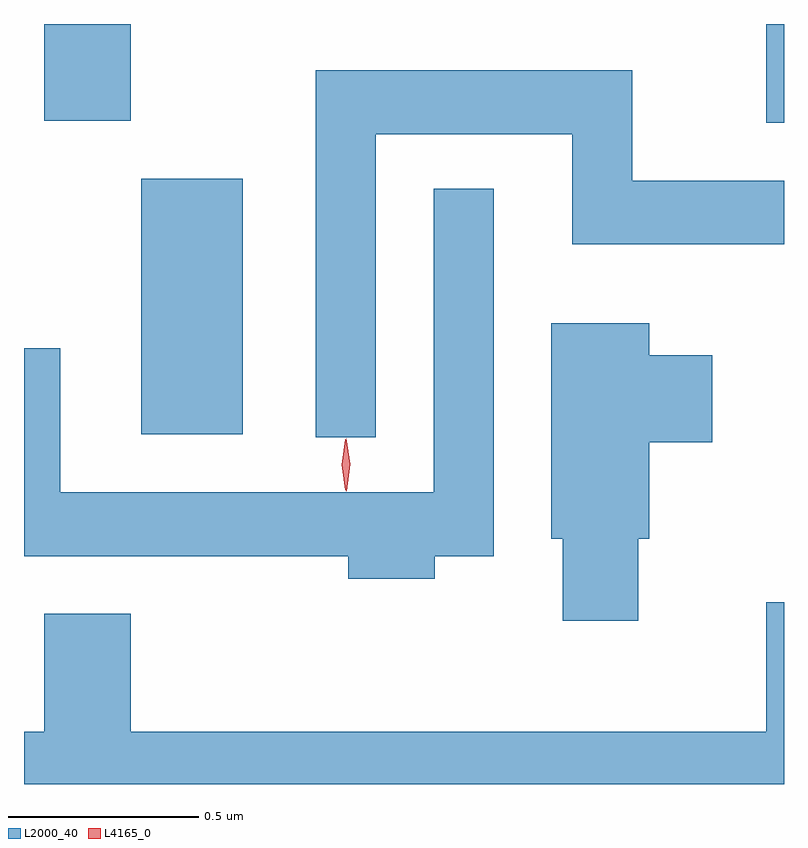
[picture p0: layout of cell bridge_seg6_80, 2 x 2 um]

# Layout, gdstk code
import gdstk
lib = gdstk.Library(unit=1e-6, precision=1e-09)
def R(c, l, rs):  # rectangles x0, y0, x1, y1
    for r in rs: c.add(gdstk.rectangle(r[:2], r[2:], *l))
def P(c, l, *ps):  # polygons
    for p in ps: c.add(gdstk.Polygon(p, *l))
L2000_40 = (2000, 40)
L4165_0 = (4165, 0)

bridge_seg6_80 = lib.new_cell('bridge_seg6_80')
R(bridge_seg6_80, L2000_40, [(1327.146,1659.866,1327.414,1660.539), (1328.791,1660.686,1328.838,1660.946), (1326.891,1660.691,1327.119,1660.946)])
P(bridge_seg6_80, L2000_40, [(1327.764,1660.656),(1328.281,1660.656),(1328.281,1660.366),(1328.838,1660.366),(1328.838,1660.534),(1328.439,1660.534),(1328.439,1660.824),(1327.606,1660.824),(1327.606,1659.858),(1327.764,1659.858)],
  [(1327.919,1659.546),(1328.074,1659.546),(1328.074,1660.513),(1327.916,1660.513),(1327.916,1659.714),(1326.934,1659.714),(1326.934,1660.093),(1326.838,1660.093),(1326.838,1659.546),(1327.691,1659.546),(1327.691,1659.486),(1327.919,1659.486)],
  [(1328.454,1659.591),(1328.484,1659.591),(1328.484,1659.846),(1328.649,1659.846),(1328.649,1660.074),(1328.484,1660.074),(1328.484,1660.159),(1328.226,1660.159),(1328.226,1659.591),(1328.256,1659.591),(1328.256,1659.376),(1328.454,1659.376)],
  [(1328.838,1659.424),(1328.791,1659.424),(1328.791,1659.084),(1327.119,1659.084),(1327.119,1659.394),(1326.891,1659.394),(1326.891,1659.084),(1326.838,1659.084),(1326.838,1658.946),(1328.838,1658.946)])
P(bridge_seg6_80, L4165_0, [(1327.684,1659.719),(1327.684,1659.72),(1327.674,1659.786),(1327.684,1659.852),(1327.684,1659.853),(1327.685,1659.852),(1327.694,1659.786),(1327.685,1659.72)],
  [(1327.686,1659.717),(1327.686,1659.718),(1327.676,1659.787),(1327.686,1659.856),(1327.686,1659.856),(1327.686,1659.856),(1327.696,1659.787),(1327.687,1659.718)])

lib.write_gds('bridge_seg6_80.gds')
